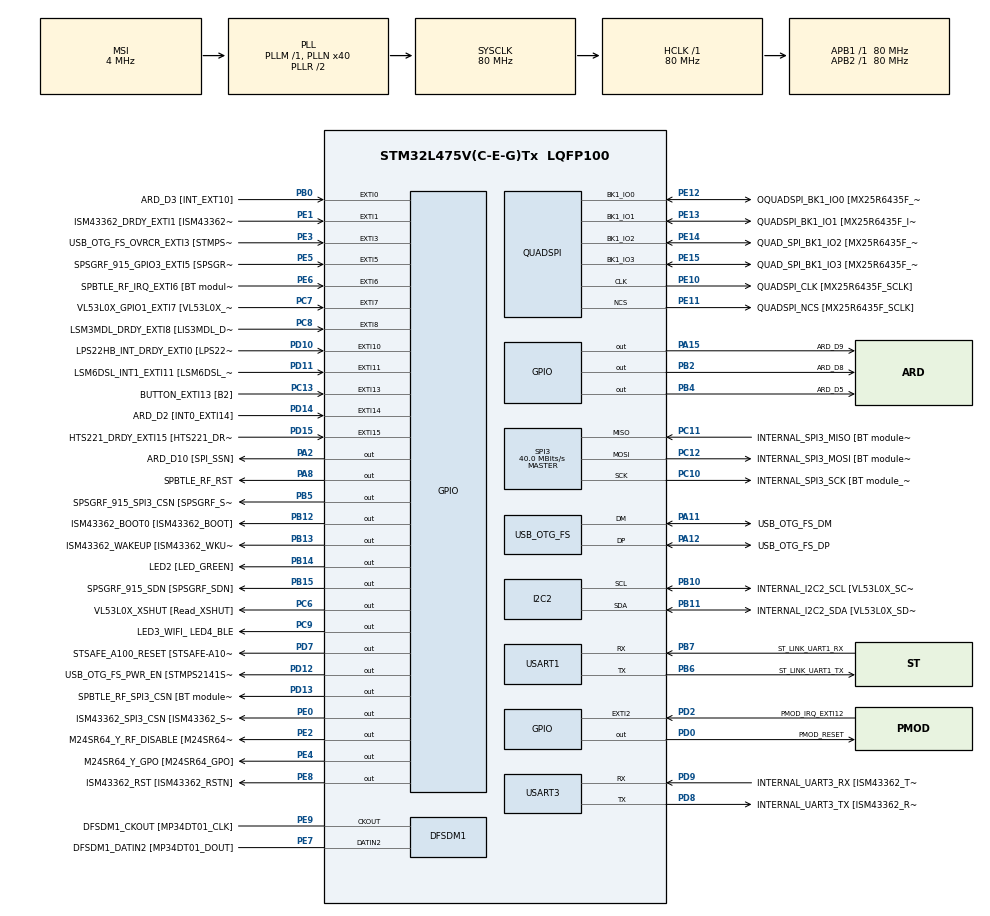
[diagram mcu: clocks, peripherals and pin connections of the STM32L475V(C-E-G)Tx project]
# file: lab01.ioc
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FREERTOS.Tasks01=defaultTask,24,128,StartDefaultTask,Default,NULL,Dynamic,NULL,NULL;myTask02,8,128,StartTask02,Default,NULL,Dynamic,NULL,NULL
I2C2.Timing=0x10D19CE4
Mcu.Family=STM32L4
Mcu.Name=STM32L475V(C-E-G)Tx
Mcu.Package=LQFP100
NVIC.EXTI15_10_IRQn=true\:5\:0\:false\:false\:true\:true\:true\:true\:true
NVIC.EXTI9_5_IRQn=true\:5\:0\:false\:false\:true\:true\:true\:true\:true
NVIC.PriorityGroup=NVIC_PRIORITYGROUP_4
PA0.GPIO_Label=ARD_D1 [UART4_TX]
PA0.Signal=UART4_TX
PA1.GPIO_Label=ARD_D0 [UART4_RX]
PA1.Signal=UART4_RX
PA10.GPIO_Label=USB_OTG_FS_ID
PA10.Signal=USB_OTG_FS_ID
PA11.GPIO_Label=USB_OTG_FS_DM
PA11.Mode=Device_Only
PA11.Signal=USB_OTG_FS_DM
PA12.GPIO_Label=USB_OTG_FS_DP
PA12.Mode=Device_Only
PA12.Signal=USB_OTG_FS_DP
PA13\ (JTMS-SWDIO).GPIO_Label=SYS_JTMS_SWDIO
PA13\ (JTMS-SWDIO).Mode=Serial_Wire
PA13\ (JTMS-SWDIO).Signal=SYS_JTMS-SWDIO
PA14\ (JTCK-SWCLK).GPIO_Label=SYS_JTCK_SWCLK
PA14\ (JTCK-SWCLK).Mode=Serial_Wire
PA14\ (JTCK-SWCLK).Signal=SYS_JTCK-SWCLK
PA15\ (JTDI).GPIO_Label=ARD_D9
PA15\ (JTDI).Signal=GPIO_Output
PA2.GPIO_Label=ARD_D10 [SPI_SSN]
PA2.Signal=GPIO_Output
PA3.GPIO_Label=ARD_D4
PA3.Signal=S_TIM2_CH4
PA4.GPIO_Label=ARD_D7
PA4.Signal=ADCx_IN9
PA5.GPIO_Label=ARD_D13 [SPI1_SCK]
PA5.Signal=SPI1_SCK
PA6.GPIO_Label=ARD_D12 [SPI1_MISO]
PA6.Signal=SPI1_MISO
PA7.GPIO_Label=ARD_D11 [SPI1_MOSI]
PA7.Signal=SPI1_MOSI
PA8.GPIO_Label=SPBTLE_RF_RST
PA8.Signal=GPIO_Output
PA9.GPIO_Label=USB_OTG_FS_VBUS [STMPS2141STR_OUT]
PA9.Signal=USB_OTG_FS_VBUS
PB0.GPIO_Label=ARD_D3 [INT_EXT10]
PB0.Signal=GPXTI0
PB1.GPIO_Label=ARD_D6 [ADC1_IN6]
PB1.Signal=ADCx_IN16
PB10.GPIO_Label=INTERNAL_I2C2_SCL [VL53L0X_SCL]
PB10.GPIO_Pu=GPIO_PULLUP
PB10.Mode=I2C
PB10.Signal=I2C2_SCL
PB11.GPIO_Label=INTERNAL_I2C2_SDA [VL53L0X_SDA]
PB11.GPIO_Pu=GPIO_PULLUP
PB11.Mode=I2C
PB11.Signal=I2C2_SDA
PB12.GPIO_Label=ISM43362_BOOT0 [ISM43362_BOOT]
PB12.Signal=GPIO_Output
PB13.GPIO_Label=ISM43362_WAKEUP [ISM43362_WKUP]
PB13.Signal=GPIO_Output
PB14.GPIO_Label=LED2 [LED_GREEN]
PB14.Signal=GPIO_Output
PB15.GPIO_Label=SPSGRF_915_SDN [SPSGRF_SDN]
PB15.Signal=GPIO_Output
PB2.GPIO_Label=ARD_D8
PB2.Signal=GPIO_Output
PB3\ (JTDO-TRACESWO).GPIO_Label=SYS_JTD0_SWO
PB3\ (JTDO-TRACESWO).Signal=SYS_JTDO-SWO
PB4\ (NJTRST).GPIO_Label=ARD_D5
PB4\ (NJTRST).Signal=GPIO_Output
PB5.GPIO_Label=SPSGRF_915_SPI3_CSN [SPSGRF_SPI_CS]
PB5.PinState=GPIO_PIN_SET
PB5.Signal=GPIO_Output
PB6.GPIO_Label=ST_LINK_UART1_TX
PB6.Mode=Asynchronous
PB6.Signal=USART1_TX
PB7.GPIO_Label=ST_LINK_UART1_RX
PB7.Mode=Asynchronous
PB7.Signal=USART1_RX
PB8.GPIO_Label=ARD_D15 [I2C1_SCL]
PB8.Signal=I2C1_SCL
PB9.GPIO_Label=ARD_D14 [I2C1_SDA]
PB9.Signal=I2C1_SDA
PC0.GPIO_Label=ARD_A5 [ADC]
PC0.Signal=ADCx_IN1
PC1.GPIO_Label=ARD_A4 [ADC]
PC1.Signal=ADCx_IN2
PC10.GPIO_Label=INTERNAL_SPI3_SCK [BT module_SPI_SCLK] [ISM43362_SCK]
PC10.Mode=Full_Duplex_Master
PC10.Signal=SPI3_SCK
PC11.GPIO_Label=INTERNAL_SPI3_MISO [BT module_SPI_MISO] [ISM43362_MISO]
PC11.Mode=Full_Duplex_Master
PC11.Signal=SPI3_MISO
PC12.GPIO_Label=INTERNAL_SPI3_MOSI [BT module_SPI_MOSI] [ISM43362_MOSI]
PC12.Mode=Full_Duplex_Master
PC12.Signal=SPI3_MOSI
PC13.GPIO_Label=BUTTON_EXTI13 [B2]
PC13.GPIO_ModeDefaultEXTI=GPIO_MODE_IT_FALLING
PC13.Signal=GPXTI13
PC14-OSC32_IN\ (PC14).Mode=LSE-External-Oscillator
PC14-OSC32_IN\ (PC14).Signal=RCC_OSC32_IN
PC15-OSC32_OUT\ (PC15).Mode=LSE-External-Oscillator
PC15-OSC32_OUT\ (PC15).Signal=RCC_OSC32_OUT
PC2.GPIO_Label=ARD_A3 [ADC]
PC2.Signal=ADCx_IN3
PC3.GPIO_Label=ARD_A2 [ADC]
PC3.Signal=ADCx_IN4
PC4.GPIO_Label=ARD_A1 [ADC]
PC4.Signal=ADCx_IN13
PC5.GPIO_Label=ARD_A0 [ADC]
PC5.Signal=ADCx_IN14
PC6.GPIO_Label=VL53L0X_XSHUT [Read_XSHUT]
PC6.Signal=GPIO_Output
PC7.GPIO_Label=VL53L0X_GPIO1_EXTI7 [VL53L0X_GPIO1]
PC7.Signal=GPXTI7
PC8.GPIO_Label=LSM3MDL_DRDY_EXTI8 [LIS3MDL_DRDY]
PC8.Signal=GPXTI8
PC9.GPIO_Label=LED3_WIFI_ LED4_BLE
PC9.Signal=GPIO_Output
PD0.GPIO_Label=PMOD_RESET
PD0.Signal=GPIO_Output
PD1.GPIO_Label=PMOD_SPI2_SCK
PD1.Signal=SPI2_SCK
PD10.GPIO_Label=LPS22HB_INT_DRDY_EXTI0 [LPS22HB_INT_DRDY] 
PD10.Signal=GPXTI10
PD11.GPIO_Label=LSM6DSL_INT1_EXTI11 [LSM6DSL_INT1]
PD11.Signal=GPXTI11
PD12.GPIO_Label=USB_OTG_FS_PWR_EN [STMPS2141STR_EN]
PD12.Signal=GPIO_Output
PD13.GPIO_Label=SPBTLE_RF_SPI3_CSN [BT module_SPI_CS]
PD13.PinState=GPIO_PIN_SET
PD13.Signal=GPIO_Output
PD14.GPIO_Label=ARD_D2 [INT0_EXTI14]
PD14.Signal=GPXTI14
PD15.GPIO_Label=HTS221_DRDY_EXTI15 [HTS221_DRDY]
PD15.Signal=GPXTI15
PD2.GPIO_Label=PMOD_IRQ_EXTI12
PD2.Signal=GPXTI2
PD3.GPIO_Label=PMOD_UART2_CTS
PD3.Signal=USART2_CTS
PD4.GPIO_Label=PMOD_UART2_RTS
PD4.Signal=USART2_RTS
PD5.GPIO_Label=PMOD_UART2_TX
PD5.Signal=USART2_TX
PD6.GPIO_Label=PMOD_UART2_RX
PD6.Signal=USART2_RX
PD7.GPIO_Label=STSAFE_A100_RESET [STSAFE-A100_RESET]
PD7.Signal=GPIO_Output
PD8.GPIO_Label=INTERNAL_UART3_TX [ISM43362_RX]
PD8.Mode=Asynchronous
PD8.Signal=USART3_TX
PD9.GPIO_Label=INTERNAL_UART3_RX [ISM43362_TX]
PD9.Mode=Asynchronous
PD9.Signal=USART3_RX
PE0.GPIO_Label=ISM43362_SPI3_CSN [ISM43362_SSN]
PE0.PinState=GPIO_PIN_SET
PE0.Signal=GPIO_Output
PE1.GPIO_Label=ISM43362_DRDY_EXTI1 [ISM43362_DATARDY]
PE1.Signal=GPXTI1
PE10.GPIO_Label=QUADSPI_CLK [MX25R6435F_SCLK]
PE10.Mode=Single Bank
PE10.Signal=QUADSPI_CLK
PE11.GPIO_Label=QUADSPI_NCS [MX25R6435F_SCLK]
PE11.Mode=Single Bank
PE11.Signal=QUADSPI_NCS
PE12.GPIO_Label=OQUADSPI_BK1_IO0 [MX25R6435F_IO0]
PE12.Mode=Single Bank
PE12.Signal=QUADSPI_BK1_IO0
PE13.GPIO_Label=QUADSPI_BK1_IO1 [MX25R6435F_IO1]
PE13.Mode=Single Bank
PE13.Signal=QUADSPI_BK1_IO1
PE14.GPIO_Label=QUAD_SPI_BK1_IO2 [MX25R6435F_IO2]
PE14.Mode=Single Bank
PE14.Signal=QUADSPI_BK1_IO2
PE15.GPIO_Label=QUAD_SPI_BK1_IO3 [MX25R6435F_IO3]
PE15.Mode=Single Bank
PE15.Signal=QUADSPI_BK1_IO3
PE2.GPIO_Label=M24SR64_Y_RF_DISABLE [M24SR64_RFDIS]
PE2.Signal=GPIO_Output
PE3.GPIO_Label=USB_OTG_FS_OVRCR_EXTI3 [STMPS2141STR_FAULT]
PE3.Signal=GPXTI3
PE4.GPIO_Label=M24SR64_Y_GPO [M24SR64_GPO]
PE4.Signal=GPIO_Output
PE5.GPIO_Label=SPSGRF_915_GPIO3_EXTI5 [SPSGRF_GPIO_3]
PE5.Signal=GPXTI5
PE6.GPIO_Label=SPBTLE_RF_IRQ_EXTI6 [BT module_SPI_IRQ]
PE6.Signal=GPXTI6
PE7.GPIO_Label=DFSDM1_DATIN2 [MP34DT01_DOUT]
PE7.Signal=S_DATAIN2DFSDM1
PE8.GPIO_Label=ISM43362_RST [ISM43362_RSTN]
PE8.Signal=GPIO_Output
PE9.GPIO_Label=DFSDM1_CKOUT [MP34DT01_CLK]
PE9.Signal=S_CKOUTDFSDM1
ProjectManager.HeapSize=0x200
ProjectManager.StackSize=0x400
ProjectManager.TargetToolchain=STM32CubeIDE
QUADSPI.ClockPrescaler=2
QUADSPI.FifoThreshold=4
QUADSPI.FlashSize=23
QUADSPI.SampleShifting=QSPI_SAMPLE_SHIFTING_HALFCYCLE
RCC.ADCFreq_Value=48000000
RCC.AHBFreq_Value=80000000
RCC.APB1Freq_Value=80000000
RCC.APB1TimFreq_Value=80000000
RCC.APB2Freq_Value=80000000
RCC.APB2TimFreq_Value=80000000
RCC.CortexFreq_Value=80000000
RCC.HCLKFreq_Value=80000000
RCC.HSE_VALUE=8000000
RCC.HSI_VALUE=16000000
RCC.MSI_VALUE=4000000
RCC.PLLN=40
RCC.PLLSAI1N=24
RCC.SYSCLKFreq_VALUE=80000000
RCC.SYSCLKSource=RCC_SYSCLKSOURCE_PLLCLK
RCC.USBFreq_Value=48000000
RCC.VCOOutputFreq_Value=160000000
SH.ADCx_IN1.0=ADC1_IN1
SH.ADCx_IN13.0=ADC1_IN13
SH.ADCx_IN14.0=ADC1_IN14
SH.ADCx_IN16.0=ADC1_IN16
SH.ADCx_IN2.0=ADC1_IN2
SH.ADCx_IN3.0=ADC1_IN3
SH.ADCx_IN4.0=ADC1_IN4
SH.ADCx_IN9.0=ADC1_IN9
SH.S_CKOUTDFSDM1.0=DFSDM1_CKOUT,CKOUT
SH.S_CKOUTDFSDM1.1=DFSDM1_CKOUT,PDM_SPI_Input_from_ch12_and_Internal_Clock
SH.S_DATAIN2DFSDM1.0=DFSDM1_DATIN2,PDM_SPI_Input_from_ch12_and_Internal_Clock
SH.S_TIM2_CH4.0=TIM2_CH4
SPI3.CalculateBaudRate=40.0 MBits/s
SPI3.Direction=SPI_DIRECTION_2LINES
SPI3.Mode=SPI_MODE_MASTER
SPI3.VirtualType=VM_MASTER
USART1.VirtualMode-Asynchronous=VM_ASYNC
USART3.VirtualMode-Asynchronous=VM_ASYNC
USB_OTG_FS.VirtualMode=Device_Only
VP_FREERTOS_VS_CMSIS_V2.Mode=CMSIS_V2
board=B-L475E-IOT01A2

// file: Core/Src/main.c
/* USER CODE BEGIN Header */
/**
  ******************************************************************************
  * @file           : main.c
  * @brief          : Main program body
  ******************************************************************************
  * @attention
  *
  * Copyright (c) 2025 STMicroelectronics.
  * All rights reserved.
  *
  * This software is licensed under terms that can be found in the LICENSE file
  * in the root directory of this software component.
  * If no LICENSE file comes with this software, it is provided AS-IS.
  *
  ******************************************************************************
  */
/* USER CODE END Header */
#include "main.h"
#include "cmsis_os.h"

DFSDM_Channel_HandleTypeDef hdfsdm1_channel1;

I2C_HandleTypeDef hi2c2;

QSPI_HandleTypeDef hqspi;

SPI_HandleTypeDef hspi3;

UART_HandleTypeDef huart1;
UART_HandleTypeDef huart3;

PCD_HandleTypeDef hpcd_USB_OTG_FS;

/* Definitions for defaultTask */
#define basic  0
#define QA     1
#define QB     2
#define Question QA

/* USER CODE BEGIN PV */
osMutexId_t ledMutex;
osMutexAttr_t ledMutex_attr = {
    .name = "ledMutex"
};

//用Message Queue讓不同thread 可以傳遞資料
osMessageQueueId_t buttonQueue;  // 定義 Message Queue 句柄
typedef struct {
  uint32_t presstick;  // 按下時間
  uint32_t releasetick;// 鬆開時間
} ButtonMessage_t;

osSemaphoreId_t buttonSemaphore;  // thread1 用於按鈕觸發的信號量
osSemaphoreId_t timerSemaphore;   // thread2 用於定時觸發的信號量
osSemaphoreId_t tickSemaphore;    // thread3 用於定時觸發的信號量

osTimerId_t timer10sHandle;       // 10 秒定時器
const osTimerAttr_t timer10s_attributes = {
  .name = "Timer10s"
};

/* Definitions for Task_1 */
osThreadId_t task1Handle;
const osThreadAttr_t task1_attributes = {
  .name = "Task_1",
  .stack_size = 128 * 4,
  .priority = (osPriority_t) osPriorityNormal1,
};

/* Definitions for Task_2 */
osThreadId_t task2Handle;
const osThreadAttr_t task2_attributes = {
  .name = "Task_2",
  .stack_size = 128 * 4,
  .priority = (osPriority_t) osPriorityNormal,
};

osThreadId_t task3Handle;
const osThreadAttr_t task3_attributes = {
  .name = "Task_3",
  .stack_size = 128 * 4,
  .priority = (osPriority_t) osPriorityNormal,
};
/* USER CODE END PV */

void SystemClock_Config(void);
static void MX_GPIO_Init(void);
static void MX_DFSDM1_Init(void);
static void MX_I2C2_Init(void);
static void MX_QUADSPI_Init(void);
static void MX_SPI3_Init(void);
static void MX_USART1_UART_Init(void);
static void MX_USART3_UART_Init(void);
static void MX_USB_OTG_FS_PCD_Init(void);
void StartTask1(void *argument);
void StartTask2(void *argument);
void StartTask3(void *argument);

/* USER CODE BEGIN 0 */

//Question basic : 只有thread 1 和 thread 2做事
//Question QA    : 多出 外部按鈕中斷->thread3處理按鍵時間->thread1處理長按短按
#if(Question == basic)
void HAL_GPIO_EXTI_Callback(uint16_t GPIO_Pin)
{
  if (GPIO_Pin == BUTTON_EXTI13_Pin)  // 按鈕中斷
  {
    osSemaphoreRelease(buttonSemaphore);  // 釋放按鈕信號量
  }
}

void Timer10sCallback(void *argument)
{
  osSemaphoreRelease(timerSemaphore);  // 釋放定時器信號量
}
#endif

#if(Question == QA)
void HAL_GPIO_EXTI_Callback(uint16_t GPIO_Pin)
{

  if (GPIO_Pin == BUTTON_EXTI13_Pin)  // 按鈕中斷
  {
    osSemaphoreRelease(tickSemaphore);  // 釋放按鈕信號量
  }
}

void Timer10sCallback(void *argument)
{
  osSemaphoreRelease(timerSemaphore);  // 釋放定時器信號量
}
#endif

#if(Question == QB)
void HAL_GPIO_EXTI_Callback(uint16_t GPIO_Pin)
{

  if (GPIO_Pin == BUTTON_EXTI13_Pin)  // 按鈕中斷
  {
    osSemaphoreRelease(buttonSemaphore);  // 釋放按鈕信號量
    osSemaphoreRelease(timerSemaphore);
  }
}
#endif

/* USER CODE END 0 */

int main(void)
{

  /* MCU Configuration--------------------------------------------------------*/

  /* Reset of all peripherals, Initializes the Flash interface and the Systick. */
  HAL_Init();

  /* Configure the system clock */
  SystemClock_Config();

  /* Initialize all configured peripherals */
  MX_GPIO_Init();
  MX_DFSDM1_Init();
  MX_I2C2_Init();
  MX_QUADSPI_Init();
  MX_SPI3_Init();
  MX_USART1_UART_Init();
  MX_USART3_UART_Init();
  MX_USB_OTG_FS_PCD_Init();

  /* USER CODE BEGIN 2 */
  /* USER CODE BEGIN 2 */

  /* USER CODE BEGIN 2 */
  /* USER CODE END 2 */
  /* USER CODE END 2 */
  /* USER CODE END 2 */

  /* USER CODE END 2 */

  /* Init scheduler */

  osKernelInitialize();

  /* USER CODE BEGIN RTOS_MUTEX */
  ledMutex = osMutexNew(NULL);                   // 初始化 Mutex
  /* USER CODE END RTOS_MUTEX */

  /* USER CODE BEGIN RTOS_SEMAPHORES */
  buttonSemaphore = osSemaphoreNew(1, 0, NULL);  // 初始值為 0，按鈕按下後釋放
  timerSemaphore  = osSemaphoreNew(1, 0, NULL);   // 初始值為 0，定時器觸發後釋放
  tickSemaphore   = osSemaphoreNew(1, 0, NULL);  // 初始值為 0，按鈕按下後釋放  /* USER CODE END RTOS_SEMAPHORES */

  /* USER CODE BEGIN RTOS_TIMERS */
  #if Question == QA || Question == basic
  timer10sHandle = osTimerNew(Timer10sCallback, osTimerPeriodic, NULL, &timer10s_attributes);
  osTimerStart(timer10sHandle, 10000);  // 10 秒週期  /* USER CODE END RTOS_TIMERS */
  #endif

  /* USER CODE BEGIN RTOS_QUEUES */
  buttonQueue = osMessageQueueNew(1, sizeof(ButtonMessage_t), NULL);  // 隊列大小為 1 個消息
  /* USER CODE END RTOS_QUEUES */

  /* Create the thread(s) */
  /* creation of defaultTask */

  /* Create the thread(s) */
  task1Handle = osThreadNew(StartTask1, NULL, &task1_attributes);
  task2Handle = osThreadNew(StartTask2, NULL, &task2_attributes);

  #if Question == QA
  task3Handle = osThreadNew(StartTask3, NULL, &task3_attributes);
  #endif

  /* Start scheduler */
  osKernelStart();

  /* We should never get here as control is now taken by the scheduler */

  /* Infinite loop */
  while (1)
  {

  }
}

void SystemClock_Config(void)
{
  RCC_OscInitTypeDef RCC_OscInitStruct = {0};
  RCC_ClkInitTypeDef RCC_ClkInitStruct = {0};

  /** Configure the main internal regulator output voltage
  */
  if (HAL_PWREx_ControlVoltageScaling(PWR_REGULATOR_VOLTAGE_SCALE1) != HAL_OK)
  {
    Error_Handler();
  }

  /** Configure LSE Drive Capability
  */
  HAL_PWR_EnableBkUpAccess();
  __HAL_RCC_LSEDRIVE_CONFIG(RCC_LSEDRIVE_LOW);

  /** Initializes the RCC Oscillators according to the specified parameters
  * in the RCC_OscInitTypeDef structure.
  */
  RCC_OscInitStruct.OscillatorType = RCC_OSCILLATORTYPE_LSE|RCC_OSCILLATORTYPE_MSI;
  RCC_OscInitStruct.LSEState = RCC_LSE_ON;
  RCC_OscInitStruct.MSIState = RCC_MSI_ON;
  RCC_OscInitStruct.MSICalibrationValue = 0;
  RCC_OscInitStruct.MSIClockRange = RCC_MSIRANGE_6;
  RCC_OscInitStruct.PLL.PLLState = RCC_PLL_ON;
  RCC_OscInitStruct.PLL.PLLSource = RCC_PLLSOURCE_MSI;
  RCC_OscInitStruct.PLL.PLLM = 1;
  RCC_OscInitStruct.PLL.PLLN = 40;
  RCC_OscInitStruct.PLL.PLLP = RCC_PLLP_DIV7;
  RCC_OscInitStruct.PLL.PLLQ = RCC_PLLQ_DIV2;
  RCC_OscInitStruct.PLL.PLLR = RCC_PLLR_DIV2;
  if (HAL_RCC_OscConfig(&RCC_OscInitStruct) != HAL_OK)
  {
    Error_Handler();
  }

  /** Initializes the CPU, AHB and APB buses clocks
  */
  RCC_ClkInitStruct.ClockType = RCC_CLOCKTYPE_HCLK|RCC_CLOCKTYPE_SYSCLK
                              |RCC_CLOCKTYPE_PCLK1|RCC_CLOCKTYPE_PCLK2;
  RCC_ClkInitStruct.SYSCLKSource = RCC_SYSCLKSOURCE_PLLCLK;
  RCC_ClkInitStruct.AHBCLKDivider = RCC_SYSCLK_DIV1;
  RCC_ClkInitStruct.APB1CLKDivider = RCC_HCLK_DIV1;
  RCC_ClkInitStruct.APB2CLKDivider = RCC_HCLK_DIV1;

  if (HAL_RCC_ClockConfig(&RCC_ClkInitStruct, FLASH_LATENCY_4) != HAL_OK)
  {
    Error_Handler();
  }

  /** Enable MSI Auto calibration
  */
  HAL_RCCEx_EnableMSIPLLMode();
}

static void MX_DFSDM1_Init(void)
{

  hdfsdm1_channel1.Instance = DFSDM1_Channel1;
  hdfsdm1_channel1.Init.OutputClock.Activation = ENABLE;
  hdfsdm1_channel1.Init.OutputClock.Selection = DFSDM_CHANNEL_OUTPUT_CLOCK_SYSTEM;
  hdfsdm1_channel1.Init.OutputClock.Divider = 2;
  hdfsdm1_channel1.Init.Input.Multiplexer = DFSDM_CHANNEL_EXTERNAL_INPUTS;
  hdfsdm1_channel1.Init.Input.DataPacking = DFSDM_CHANNEL_STANDARD_MODE;
  hdfsdm1_channel1.Init.Input.Pins = DFSDM_CHANNEL_FOLLOWING_CHANNEL_PINS;
  hdfsdm1_channel1.Init.SerialInterface.Type = DFSDM_CHANNEL_SPI_RISING;
  hdfsdm1_channel1.Init.SerialInterface.SpiClock = DFSDM_CHANNEL_SPI_CLOCK_INTERNAL;
  hdfsdm1_channel1.Init.Awd.FilterOrder = DFSDM_CHANNEL_FASTSINC_ORDER;
  hdfsdm1_channel1.Init.Awd.Oversampling = 1;
  hdfsdm1_channel1.Init.Offset = 0;
  hdfsdm1_channel1.Init.RightBitShift = 0x00;
  if (HAL_DFSDM_ChannelInit(&hdfsdm1_channel1) != HAL_OK)
  {
    Error_Handler();
  }

}

static void MX_I2C2_Init(void)
{

  hi2c2.Instance = I2C2;
  hi2c2.Init.Timing = 0x10D19CE4;
  hi2c2.Init.OwnAddress1 = 0;
  hi2c2.Init.AddressingMode = I2C_ADDRESSINGMODE_7BIT;
  hi2c2.Init.DualAddressMode = I2C_DUALADDRESS_DISABLE;
  hi2c2.Init.OwnAddress2 = 0;
  hi2c2.Init.OwnAddress2Masks = I2C_OA2_NOMASK;
  hi2c2.Init.GeneralCallMode = I2C_GENERALCALL_DISABLE;
  hi2c2.Init.NoStretchMode = I2C_NOSTRETCH_DISABLE;
  if (HAL_I2C_Init(&hi2c2) != HAL_OK)
  {
    Error_Handler();
  }

  /** Configure Analogue filter
  */
  if (HAL_I2CEx_ConfigAnalogFilter(&hi2c2, I2C_ANALOGFILTER_ENABLE) != HAL_OK)
  {
    Error_Handler();
  }

  /** Configure Digital filter
  */
  if (HAL_I2CEx_ConfigDigitalFilter(&hi2c2, 0) != HAL_OK)
  {
    Error_Handler();
  }

}

static void MX_QUADSPI_Init(void)
{

  /* QUADSPI parameter configuration*/
  hqspi.Instance = QUADSPI;
  hqspi.Init.ClockPrescaler = 2;
  hqspi.Init.FifoThreshold = 4;
  hqspi.Init.SampleShifting = QSPI_SAMPLE_SHIFTING_HALFCYCLE;
  hqspi.Init.FlashSize = 23;
  hqspi.Init.ChipSelectHighTime = QSPI_CS_HIGH_TIME_1_CYCLE;
  hqspi.Init.ClockMode = QSPI_CLOCK_MODE_0;
  if (HAL_QSPI_Init(&hqspi) != HAL_OK)
  {
    Error_Handler();
  }

}

static void MX_SPI3_Init(void)
{

  /* SPI3 parameter configuration*/
  hspi3.Instance = SPI3;
  hspi3.Init.Mode = SPI_MODE_MASTER;
  hspi3.Init.Direction = SPI_DIRECTION_2LINES;
  hspi3.Init.DataSize = SPI_DATASIZE_4BIT;
  hspi3.Init.CLKPolarity = SPI_POLARITY_LOW;
  hspi3.Init.CLKPhase = SPI_PHASE_1EDGE;
  hspi3.Init.NSS = SPI_NSS_SOFT;
  hspi3.Init.BaudRatePrescaler = SPI_BAUDRATEPRESCALER_2;
  hspi3.Init.FirstBit = SPI_FIRSTBIT_MSB;
  hspi3.Init.TIMode = SPI_TIMODE_DISABLE;
  hspi3.Init.CRCCalculation = SPI_CRCCALCULATION_DISABLE;
  hspi3.Init.CRCPolynomial = 7;
  hspi3.Init.CRCLength = SPI_CRC_LENGTH_DATASIZE;
  hspi3.Init.NSSPMode = SPI_NSS_PULSE_ENABLE;
  if (HAL_SPI_Init(&hspi3) != HAL_OK)
  {
    Error_Handler();
  }

}

static void MX_USART1_UART_Init(void)
{

  huart1.Instance = USART1;
  huart1.Init.BaudRate = 115200;
  huart1.Init.WordLength = UART_WORDLENGTH_8B;
  huart1.Init.StopBits = UART_STOPBITS_1;
  huart1.Init.Parity = UART_PARITY_NONE;
  huart1.Init.Mode = UART_MODE_TX_RX;
  huart1.Init.HwFlowCtl = UART_HWCONTROL_NONE;
  huart1.Init.OverSampling = UART_OVERSAMPLING_16;
  huart1.Init.OneBitSampling = UART_ONE_BIT_SAMPLE_DISABLE;
  huart1.AdvancedInit.AdvFeatureInit = UART_ADVFEATURE_NO_INIT;
  if (HAL_UART_Init(&huart1) != HAL_OK)
  {
    Error_Handler();
  }

}

static void MX_USART3_UART_Init(void)
{

  huart3.Instance = USART3;
  huart3.Init.BaudRate = 115200;
  huart3.Init.WordLength = UART_WORDLENGTH_8B;
  huart3.Init.StopBits = UART_STOPBITS_1;
  huart3.Init.Parity = UART_PARITY_NONE;
  huart3.Init.Mode = UART_MODE_TX_RX;
  huart3.Init.HwFlowCtl = UART_HWCONTROL_NONE;
  huart3.Init.OverSampling = UART_OVERSAMPLING_16;
  huart3.Init.OneBitSampling = UART_ONE_BIT_SAMPLE_DISABLE;
  huart3.AdvancedInit.AdvFeatureInit = UART_ADVFEATURE_NO_INIT;
  if (HAL_UART_Init(&huart3) != HAL_OK)
  {
    Error_Handler();
  }

}

static void MX_USB_OTG_FS_PCD_Init(void)
{

  hpcd_USB_OTG_FS.Instance = USB_OTG_FS;
  hpcd_USB_OTG_FS.Init.dev_endpoints = 6;
  hpcd_USB_OTG_FS.Init.speed = PCD_SPEED_FULL;
  hpcd_USB_OTG_FS.Init.phy_itface = PCD_PHY_EMBEDDED;
  hpcd_USB_OTG_FS.Init.Sof_enable = DISABLE;
  hpcd_USB_OTG_FS.Init.low_power_enable = DISABLE;
  hpcd_USB_OTG_FS.Init.lpm_enable = DISABLE;
  hpcd_USB_OTG_FS.Init.battery_charging_enable = DISABLE;
  hpcd_USB_OTG_FS.Init.use_dedicated_ep1 = DISABLE;
  hpcd_USB_OTG_FS.Init.vbus_sensing_enable = DISABLE;
  if (HAL_PCD_Init(&hpcd_USB_OTG_FS) != HAL_OK)
  {
    Error_Handler();
  }

}

static void MX_GPIO_Init(void)
{
  GPIO_InitTypeDef GPIO_InitStruct = {0};

  /* GPIO Ports Clock Enable */
  __HAL_RCC_GPIOE_CLK_ENABLE();
  __HAL_RCC_GPIOC_CLK_ENABLE();
  __HAL_RCC_GPIOA_CLK_ENABLE();
  __HAL_RCC_GPIOB_CLK_ENABLE();
  __HAL_RCC_GPIOD_CLK_ENABLE();

  /*Configure GPIO pin Output Level */
  HAL_GPIO_WritePin(GPIOE, M24SR64_Y_RF_DISABLE_Pin|M24SR64_Y_GPO_Pin|ISM43362_RST_Pin, GPIO_PIN_RESET);

  /*Configure GPIO pin Output Level */
  HAL_GPIO_WritePin(GPIOA, ARD_D10_Pin|SPBTLE_RF_RST_Pin|ARD_D9_Pin, GPIO_PIN_RESET);

  /*Configure GPIO pin Output Level */
  HAL_GPIO_WritePin(GPIOB, ARD_D8_Pin|ISM43362_BOOT0_Pin|ISM43362_WAKEUP_Pin|GPIO_PIN_14
                          |SPSGRF_915_SDN_Pin|ARD_D5_Pin, GPIO_PIN_RESET);

  /*Configure GPIO pin Output Level */
  HAL_GPIO_WritePin(GPIOD, USB_OTG_FS_PWR_EN_Pin|PMOD_RESET_Pin|STSAFE_A100_RESET_Pin, GPIO_PIN_RESET);

  /*Configure GPIO pin Output Level */
  HAL_GPIO_WritePin(SPBTLE_RF_SPI3_CSN_GPIO_Port, SPBTLE_RF_SPI3_CSN_Pin, GPIO_PIN_SET);

  /*Configure GPIO pin Output Level */
  HAL_GPIO_WritePin(GPIOC, VL53L0X_XSHUT_Pin|LED3_WIFI__LED4_BLE_Pin, GPIO_PIN_RESET);

  /*Configure GPIO pin Output Level */
  HAL_GPIO_WritePin(SPSGRF_915_SPI3_CSN_GPIO_Port, SPSGRF_915_SPI3_CSN_Pin, GPIO_PIN_SET);

  /*Configure GPIO pin Output Level */
  HAL_GPIO_WritePin(ISM43362_SPI3_CSN_GPIO_Port, ISM43362_SPI3_CSN_Pin, GPIO_PIN_SET);

  /*Configure GPIO pins : M24SR64_Y_RF_DISABLE_Pin M24SR64_Y_GPO_Pin ISM43362_RST_Pin ISM43362_SPI3_CSN_Pin */
  GPIO_InitStruct.Pin = M24SR64_Y_RF_DISABLE_Pin|M24SR64_Y_GPO_Pin|ISM43362_RST_Pin|ISM43362_SPI3_CSN_Pin;
  GPIO_InitStruct.Mode = GPIO_MODE_OUTPUT_PP;
  GPIO_InitStruct.Pull = GPIO_NOPULL;
  GPIO_InitStruct.Speed = GPIO_SPEED_FREQ_LOW;
  HAL_GPIO_Init(GPIOE, &GPIO_InitStruct);

  /*Configure GPIO pins : USB_OTG_FS_OVRCR_EXTI3_Pin SPSGRF_915_GPIO3_EXTI5_Pin SPBTLE_RF_IRQ_EXTI6_Pin ISM43362_DRDY_EXTI1_Pin */
  GPIO_InitStruct.Pin = USB_OTG_FS_OVRCR_EXTI3_Pin|SPSGRF_915_GPIO3_EXTI5_Pin|SPBTLE_RF_IRQ_EXTI6_Pin|ISM43362_DRDY_EXTI1_Pin;
  GPIO_InitStruct.Mode = GPIO_MODE_IT_RISING;
  GPIO_InitStruct.Pull = GPIO_NOPULL;
  HAL_GPIO_Init(GPIOE, &GPIO_InitStruct);

  /*Configure GPIO pin : BUTTON_EXTI13_Pin */
  GPIO_InitStruct.Pin = BUTTON_EXTI13_Pin;
  GPIO_InitStruct.Mode = GPIO_MODE_IT_FALLING;
  GPIO_InitStruct.Pull = GPIO_NOPULL;
  HAL_GPIO_Init(BUTTON_EXTI13_GPIO_Port, &GPIO_InitStruct);

  /*Configure GPIO pins : ARD_A5_Pin ARD_A4_Pin ARD_A3_Pin ARD_A2_Pin
                           ARD_A1_Pin ARD_A0_Pin */
  GPIO_InitStruct.Pin = ARD_A5_Pin|ARD_A4_Pin|ARD_A3_Pin|ARD_A2_Pin
                          |ARD_A1_Pin|ARD_A0_Pin;
  GPIO_InitStruct.Mode = GPIO_MODE_ANALOG_ADC_CONTROL;
  GPIO_InitStruct.Pull = GPIO_NOPULL;
  HAL_GPIO_Init(GPIOC, &GPIO_InitStruct);

  /*Configure GPIO pins : ARD_D1_Pin ARD_D0_Pin */
  GPIO_InitStruct.Pin = ARD_D1_Pin|ARD_D0_Pin;
  GPIO_InitStruct.Mode = GPIO_MODE_AF_PP;
  GPIO_InitStruct.Pull = GPIO_NOPULL;
  GPIO_InitStruct.Speed = GPIO_SPEED_FREQ_VERY_HIGH;
  GPIO_InitStruct.Alternate = GPIO_AF8_UART4;
  HAL_GPIO_Init(GPIOA, &GPIO_InitStruct);

  /*Configure GPIO pins : ARD_D10_Pin SPBTLE_RF_RST_Pin ARD_D9_Pin */
  GPIO_InitStruct.Pin = ARD_D10_Pin|SPBTLE_RF_RST_Pin|ARD_D9_Pin;
  GPIO_InitStruct.Mode = GPIO_MODE_OUTPUT_PP;
  GPIO_InitStruct.Pull = GPIO_NOPULL;
  GPIO_InitStruct.Speed = GPIO_SPEED_FREQ_LOW;
  HAL_GPIO_Init(GPIOA, &GPIO_InitStruct);

  /*Configure GPIO pin : ARD_D4_Pin */
  GPIO_InitStruct.Pin = ARD_D4_Pin;
  GPIO_InitStruct.Mode = GPIO_MODE_AF_PP;
  GPIO_InitStruct.Pull = GPIO_NOPULL;
  GPIO_InitStruct.Speed = GPIO_SPEED_FREQ_LOW;
  GPIO_InitStruct.Alternate = GPIO_AF1_TIM2;
  HAL_GPIO_Init(ARD_D4_GPIO_Port, &GPIO_InitStruct);

  /*Configure GPIO pin : ARD_D7_Pin */
  GPIO_InitStruct.Pin = ARD_D7_Pin;
  GPIO_InitStruct.Mode = GPIO_MODE_ANALOG_ADC_CONTROL;
  GPIO_InitStruct.Pull = GPIO_NOPULL;
  HAL_GPIO_Init(ARD_D7_GPIO_Port, &GPIO_InitStruct);

  /*Configure GPIO pins : ARD_D13_Pin ARD_D12_Pin ARD_D11_Pin */
  GPIO_InitStruct.Pin = ARD_D13_Pin|ARD_D12_Pin|ARD_D11_Pin;
  GPIO_InitStruct.Mode = GPIO_MODE_AF_PP;
  GPIO_InitStruct.Pull = GPIO_NOPULL;
  GPIO_InitStruct.Speed = GPIO_SPEED_FREQ_VERY_HIGH;
  GPIO_InitStruct.Alternate = GPIO_AF5_SPI1;
  HAL_GPIO_Init(GPIOA, &GPIO_InitStruct);

  /*Configure GPIO pin : ARD_D3_Pin */
  GPIO_InitStruct.Pin = ARD_D3_Pin;
  GPIO_InitStruct.Mode = GPIO_MODE_IT_RISING;
  GPIO_InitStruct.Pull = GPIO_NOPULL;
  HAL_GPIO_Init(ARD_D3_GPIO_Port, &GPIO_InitStruct);

  /*Configure GPIO pin : ARD_D6_Pin */
  GPIO_InitStruct.Pin = ARD_D6_Pin;
  GPIO_InitStruct.Mode = GPIO_MODE_ANALOG_ADC_CONTROL;
  GPIO_InitStruct.Pull = GPIO_NOPULL;
  HAL_GPIO_Init(ARD_D6_GPIO_Port, &GPIO_InitStruct);

  /*Configure GPIO pins : ARD_D8_Pin ISM43362_BOOT0_Pin ISM43362_WAKEUP_Pin PB14
                           SPSGRF_915_SDN_Pin ARD_D5_Pin SPSGRF_915_SPI3_CSN_Pin */
  GPIO_InitStruct.Pin = ARD_D8_Pin|ISM43362_BOOT0_Pin|ISM43362_WAKEUP_Pin|GPIO_PIN_14
                          |SPSGRF_915_SDN_Pin|ARD_D5_Pin|SPSGRF_915_SPI3_CSN_Pin;
  GPIO_InitStruct.Mode = GPIO_MODE_OUTPUT_PP;
  GPIO_InitStruct.Pull = GPIO_NOPULL;
  GPIO_InitStruct.Speed = GPIO_SPEED_FREQ_LOW;
  HAL_GPIO_Init(GPIOB, &GPIO_InitStruct);

  /*Configure GPIO pins : LPS22HB_INT_DRDY_EXTI0_Pin LSM6DSL_INT1_EXTI11_Pin ARD_D2_Pin HTS221_DRDY_EXTI15_Pin
                           PMOD_IRQ_EXTI12_Pin */
  GPIO_InitStruct.Pin = LPS22HB_INT_DRDY_EXTI0_Pin|LSM6DSL_INT1_EXTI11_Pin|ARD_D2_Pin|HTS221_DRDY_EXTI15_Pin
                          |PMOD_IRQ_EXTI12_Pin;
  GPIO_InitStruct.Mode = GPIO_MODE_IT_RISING;
  GPIO_InitStruct.Pull = GPIO_NOPULL;
  HAL_GPIO_Init(GPIOD, &GPIO_InitStruct);

  /*Configure GPIO pins : USB_OTG_FS_PWR_EN_Pin SPBTLE_RF_SPI3_CSN_Pin PMOD_RESET_Pin STSAFE_A100_RESET_Pin */
  GPIO_InitStruct.Pin = USB_OTG_FS_PWR_EN_Pin|SPBTLE_RF_SPI3_CSN_Pin|PMOD_RESET_Pin|STSAFE_A100_RESET_Pin;
  GPIO_InitStruct.Mode = GPIO_MODE_OUTPUT_PP;
  GPIO_InitStruct.Pull = GPIO_NOPULL;
  GPIO_InitStruct.Speed = GPIO_SPEED_FREQ_LOW;
  HAL_GPIO_Init(GPIOD, &GPIO_InitStruct);

  /*Configure GPIO pins : VL53L0X_XSHUT_Pin LED3_WIFI__LED4_BLE_Pin */
  GPIO_InitStruct.Pin = VL53L0X_XSHUT_Pin|LED3_WIFI__LED4_BLE_Pin;
  GPIO_InitStruct.Mode = GPIO_MODE_OUTPUT_PP;
  GPIO_InitStruct.Pull = GPIO_NOPULL;
  GPIO_InitStruct.Speed = GPIO_SPEED_FREQ_LOW;
  HAL_GPIO_Init(GPIOC, &GPIO_InitStruct);

  /*Configure GPIO pins : VL53L0X_GPIO1_EXTI7_Pin LSM3MDL_DRDY_EXTI8_Pin */
  GPIO_InitStruct.Pin = VL53L0X_GPIO1_EXTI7_Pin|LSM3MDL_DRDY_EXTI8_Pin;
  GPIO_InitStruct.Mode = GPIO_MODE_IT_RISING;
  GPIO_InitStruct.Pull = GPIO_NOPULL;
  HAL_GPIO_Init(GPIOC, &GPIO_InitStruct);

  /*Configure GPIO pin : PMOD_SPI2_SCK_Pin */
  GPIO_InitStruct.Pin = PMOD_SPI2_SCK_Pin;
  GPIO_InitStruct.Mode = GPIO_MODE_AF_PP;
  GPIO_InitStruct.Pull = GPIO_NOPULL;
  GPIO_InitStruct.Speed = GPIO_SPEED_FREQ_VERY_HIGH;
  GPIO_InitStruct.Alternate = GPIO_AF5_SPI2;
  HAL_GPIO_Init(PMOD_SPI2_SCK_GPIO_Port, &GPIO_InitStruct);

  /*Configure GPIO pins : PMOD_UART2_CTS_Pin PMOD_UART2_RTS_Pin PMOD_UART2_TX_Pin PMOD_UART2_RX_Pin */
  GPIO_InitStruct.Pin = PMOD_UART2_CTS_Pin|PMOD_UART2_RTS_Pin|PMOD_UART2_TX_Pin|PMOD_UART2_RX_Pin;
  GPIO_InitStruct.Mode = GPIO_MODE_AF_PP;
  GPIO_InitStruct.Pull = GPIO_NOPULL;
  GPIO_InitStruct.Speed = GPIO_SPEED_FREQ_VERY_HIGH;
  GPIO_InitStruct.Alternate = GPIO_AF7_USART2;
  HAL_GPIO_Init(GPIOD, &GPIO_InitStruct);

  /*Configure GPIO pins : ARD_D15_Pin ARD_D14_Pin */
  GPIO_InitStruct.Pin = ARD_D15_Pin|ARD_D14_Pin;
  GPIO_InitStruct.Mode = GPIO_MODE_AF_OD;
  GPIO_InitStruct.Pull = GPIO_NOPULL;
  GPIO_InitStruct.Speed = GPIO_SPEED_FREQ_VERY_HIGH;
  GPIO_InitStruct.Alternate = GPIO_AF4_I2C1;
  HAL_GPIO_Init(GPIOB, &GPIO_InitStruct);

  /* EXTI interrupt init*/
  HAL_NVIC_SetPriority(EXTI9_5_IRQn, 5, 0);
  HAL_NVIC_EnableIRQ(EXTI9_5_IRQn);

  HAL_NVIC_SetPriority(EXTI15_10_IRQn, 5, 0);
  HAL_NVIC_EnableIRQ(EXTI15_10_IRQn);

}

#if(Question == basic)
void StartTask1(void *argument)
{
  for (;;)
  {
    osSemaphoreAcquire(buttonSemaphore, osWaitForever);  // 等待按鈕信號量

    osMutexAcquire(ledMutex, osWaitForever);  // 獲取 Mutex，保護 LED2

    // LED2 以 1Hz 閃爍，持續 5 秒
    for (int i = 0; i < 10; i++)
    {
      HAL_GPIO_TogglePin(GPIOB, GPIO_PIN_14);  // 切換 LED2
      osDelay(500);  // 延遲 500ms
    }

    HAL_GPIO_WritePin(GPIOB, GPIO_PIN_14,0);
    osMutexRelease(ledMutex);  // 釋放 Mutex
  }
}

void StartTask2(void *argument)
{
  for (;;)
  {
    osSemaphoreAcquire(timerSemaphore, osWaitForever);  // 等待定時器信號量

    osMutexAcquire(ledMutex, osWaitForever);  // 獲取 Mutex，保護 LED2

    // LED2 以 10Hz 閃爍，持續 2 秒
    for (int i = 0; i < 20; i++)
    {
      HAL_GPIO_TogglePin(GPIOB, GPIO_PIN_14);  // 切換 LED2
      osDelay(50);  // 延遲 50ms
    }
    osDelay(8000);  // 延遲 50ms
    osMutexRelease(ledMutex);  // 釋放 Mutex
  }
}

#endif

#if(Question == QA)
void StartTask1(void *argument)
{
  ButtonMessage_t msg;
  uint32_t tick;
  for (;;)
  {
    osSemaphoreAcquire(buttonSemaphore, osWaitForever);  // 等待按鈕信號量

    // 從 Message Queue 接收按鈕狀態
    osMessageQueueGet(buttonQueue, &msg, NULL, osWaitForever);

    tick = msg.releasetick - msg.presstick;

    osMutexAcquire(ledMutex, osWaitForever);  // 獲取 Mutex，保護 LED2

    if (tick < 1000)  // 短按
    {
      // LED2 以 1Hz 閃爍，持續 2 秒
      for (int i = 0; i < 10; i++)
      {
        HAL_GPIO_TogglePin(GPIOB, GPIO_PIN_14);  // 切換 LED2
        osDelay(500);  // 延遲 500ms
      }
    }
    else  // 長按
    {
      // LED2 以 10Hz 閃爍，持續 5 秒
      for (int i = 0; i < 50; i++)
      {
        HAL_GPIO_TogglePin(GPIOB, GPIO_PIN_14);  // 切換 LED2
        osDelay(100);  // 延遲 100ms
      }
    }

    HAL_GPIO_WritePin(GPIOB, GPIO_PIN_14, GPIO_PIN_RESET);  // 關閉 LED2
    osMutexRelease(ledMutex);  // 釋放 Mutex
  }
}

void StartTask2(void *argument)
{
  for (;;)
  {
	osSemaphoreAcquire(timerSemaphore, osWaitForever);  // 等待定時器信號量

	osMutexAcquire(ledMutex, osWaitForever);  // 獲取 Mutex，保護 LED2

	// LED2 以 10Hz 閃爍，持續 2 秒
	for (int i = 0; i < 40; i++)
	{
	  HAL_GPIO_TogglePin(GPIOB, GPIO_PIN_14);  // 切換 LED2
	  osDelay(50);  // 延遲 50ms
	}
//	osDelay(8000);  // 延遲 50ms
	osMutexRelease(ledMutex);  // 釋放 Mutex
  }
}

void StartTask3(void *argument)
{
  for (;;)
  {
	  ButtonMessage_t msg;
	  osSemaphoreAcquire(tickSemaphore, osWaitForever);  // 等待定時器信號量

	  msg.presstick = osKernelGetTickCount();
	  osDelay(50);
	  while(HAL_GPIO_ReadPin(GPIOC, GPIO_PIN_13) == 0);
	  osDelay(50);
	  msg.releasetick = osKernelGetTickCount();

	  osMessageQueuePut(buttonQueue, &msg, 0, 0);
	  osSemaphoreRelease(buttonSemaphore);
  }
}
#endif

#if(Question == QB)
void StartTask1(void *argument)
{

  for (;;)
  {
	  osSemaphoreAcquire(buttonSemaphore, osWaitForever);  // 等待按鈕信號量
	  HAL_GPIO_TogglePin(GPIOB, GPIO_PIN_14);  // 切換 LED2
	  osDelay(500);  // 延遲 50ms
  }
}

void StartTask2(void *argument)
{
  for (;;)
  {
	  osSemaphoreAcquire(timerSemaphore, osWaitForever);  // 等待定時器信號量
	  HAL_GPIO_TogglePin(LED3_WIFI__LED4_BLE_GPIO_Port, LED3_WIFI__LED4_BLE_Pin);  // 切換 LED2
	  osDelay(500);  // 延遲 50ms
  }
}

#endif

  /* USER CODE END StartTask02 */

void Error_Handler(void)
{
  __disable_irq();
  while (1)
  {
  }
}
